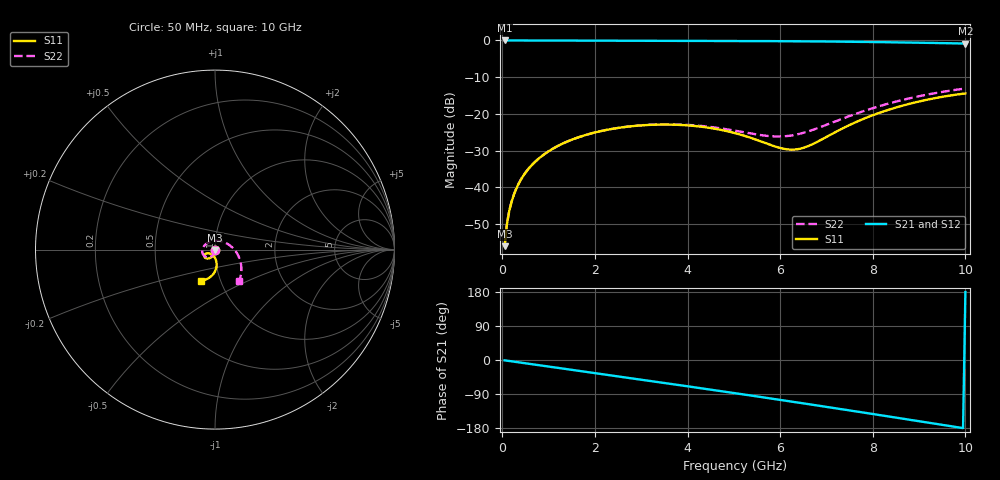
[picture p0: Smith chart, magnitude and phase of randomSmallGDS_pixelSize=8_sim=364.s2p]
! freq	dB(S11)	phase(S11)	dB(S12)	phase(S12)
!  dB(S21)	phase(S21)	dB(S22)	phase(S22)
!S-par simulation data
#  GHz  S  DB  R 50
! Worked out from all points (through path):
!   200 points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, 50 MHz to 10 GHz, reference 50 ohm
!   highest |S21| = 0.00 dB at 50 MHz (marker M1); lowest = -0.8 dB at 10 GHz (marker M2)
!   group delay of S21, straight-line fit = 50 ps
!   lowest |S11| = -56.0 dB at 50 MHz (marker M3), VSWR 1.00, Z = 50 - j0.159 ohm
!   |S11| at or under -10 dB: start of sweep to end of sweep
!   |S22| runs from -55.9 to -13.1 dB; largest |S21 - S12| = 0
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0.05  -55.98 -90.1  -0.00 -0.9  -0.00 -0.9  -55.87 -90.2
0.1  -49.95 -91.4  -0.00 -1.7  -0.00 -1.7  -49.86 -91.6
0.15  -46.43 -92.4  -0.00 -2.6  -0.00 -2.6  -46.34 -92.7
0.2  -43.93 -93.3  -0.00 -3.5  -0.00 -3.5  -43.84 -93.8
0.35  -39.07 -96.0  -0.01 -6.1  -0.01 -6.1  -39.01 -96.9
0.5  -35.99 -98.4  -0.01 -8.7  -0.01 -8.7  -35.95 -100.0
0.7  -33.12 -101.6  -0.02 -12.2  -0.02 -12.2  -33.10 -104.0
1  -30.16 -106.4  -0.02 -17.4  -0.02 -17.4  -30.15 -110.0
1.35  -27.79 -111.9  -0.03 -23.4  -0.03 -23.4  -27.79 -117.1
1.75  -25.91 -118.1  -0.05 -30.3  -0.05 -30.3  -25.91 -125.2
2.55  -23.71 -130.1  -0.07 -44.1  -0.07 -44.1  -23.70 -141.8
3.4  -22.89 -141.9  -0.09 -58.9  -0.09 -58.9  -22.83 -160.8
4.25  -23.40 -151.7  -0.12 -73.8  -0.12 -73.8  -23.20 176.8
5.05  -25.30 -155.9  -0.15 -88.0  -0.15 -88.0  -24.60 148.3
5.7  -28.00 -148.5  -0.18 -99.7  -0.18 -99.7  -25.95 114.1
6.15  -29.63 -129.5  -0.21 -108.0  -0.21 -108.0  -26.02 83.6
6.4  -29.54 -114.5  -0.23 -112.6  -0.23 -112.6  -25.47 66.2
6.7  -28.22 -98.6  -0.26 -118.1  -0.26 -118.1  -24.34 47.1
7.6  -22.42 -83.3  -0.36 -134.9  -0.36 -134.9  -20.10 5.8
8.35  -18.83 -88.5  -0.48 -149.1  -0.48 -149.1  -17.13 -17.1
9.2  -16.06 -100.6  -0.66 -165.3  -0.66 -165.3  -14.67 -37.3
10  -14.42 -115.0  -0.84 179.3  -0.84 179.3  -13.07 -53.1
